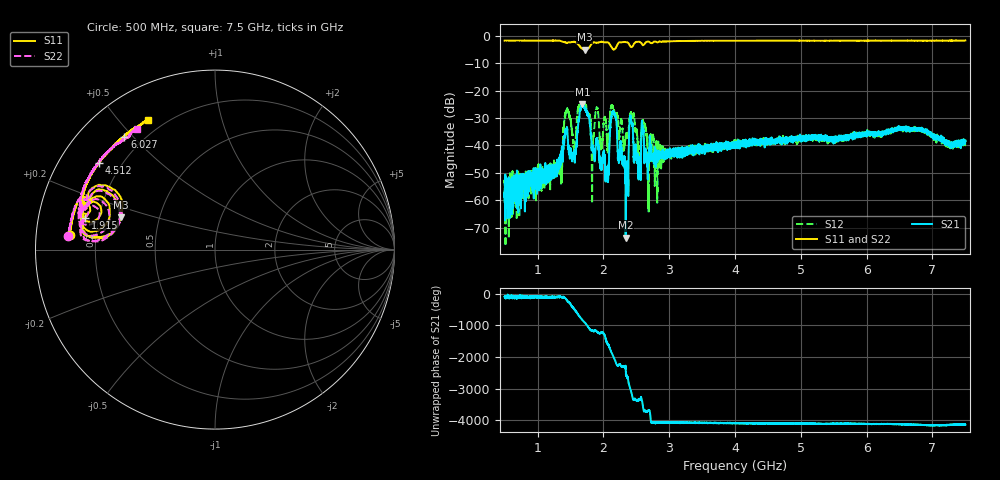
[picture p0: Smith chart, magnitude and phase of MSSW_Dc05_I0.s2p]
!Keysight Technologies,M9374A,MY55442783,A.12.55.05
!Date: Wednesday, May 19, 2021 18:52:44
!Correction: S11(Full 2 Port(1,2))
!S21(Full 2 Port(1,2))
!S12(Full 2 Port(1,2))
!S22(Full 2 Port(1,2))
!S2P File: Measurements: S11, S21, S12, S22:
# Hz S  RI  R 50
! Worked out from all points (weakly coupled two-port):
!   7001 points, 500 MHz to 7.5 GHz, reference 50 ohm
!   highest |S21| = -25.09 dB at 1.682 GHz (marker M1); lowest = -73.6 dB at 2.339 GHz (marker M2)
!   lowest |S11| = -5.1 dB at 1.715 GHz (marker M3), VSWR 3.47, Z = 14.8 + j7.61 ohm
!   |S11| at or under -10 dB: nowhere
!   |S22| runs from -5.2 to -1.7 dB; largest |S21 - S12| = 0.055
!   S11 on the Smith chart (normalised r, x): 500 MHz: 0.10, +0.05; 1.915 GHz: 0.15, +0.12; 4.512 GHz: 0.12, +0.33; 6.027 GHz: 0.13, +0.47; 7.5 GHz: 0.14, +0.60
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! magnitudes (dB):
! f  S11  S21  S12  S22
! 500 MHz  -1.8  -57.6  -53.7  -1.7
! 1.342 GHz  -1.9  -45.1  -49.1  -1.8
! 1.444 GHz  -2.6  -33.5  -26.8  -2.6
! 1.548 GHz  -2.3  -43.7  -40.3  -2.2
! 1.667 GHz  -4.6  -26.0  -25.3  -4.5
! 1.682 GHz  -4.9  -25.1  -25.4  -4.8
! 1.715 GHz  -5.1  -26.3  -25.1  -5.2
! 1.834 GHz  -2.7  -41.9  -43.7  -2.6
! 1.915 GHz  -2.6  -38.3  -27.0  -2.5
! 2.055 GHz  -2.5  -49.8  -37.3  -2.4
! 2.162 GHz  -5.1  -28.3  -27.5  -5.0
! 2.339 GHz  -2.4  -73.6  -36.6  -2.3
! 2.422 GHz  -4.2  -30.6  -27.8  -4.3
! 2.536 GHz  -2.2  -52.4  -47.8  -2.2
! 2.617 GHz  -3.3  -40.6  -32.5  -3.2
! 2.834 GHz  -2.4  -43.8  -38.5  -2.3
! 4 GHz  -1.9  -41.0  -40.2  -1.9
! 4.512 GHz  -1.8  -38.4  -38.2  -1.8
! 5.167 GHz  -1.9  -37.2  -36.7  -1.8
! 6.027 GHz  -1.9  -35.6  -35.2  -1.9
! 6.334 GHz  -1.8  -34.7  -35.0  -2.0
! 7.5 GHz  -1.8  -38.4  -37.9  -1.9
